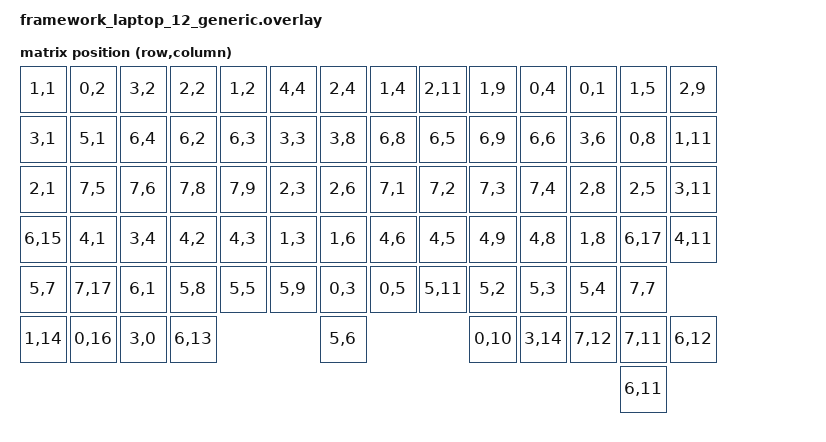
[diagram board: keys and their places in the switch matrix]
/*
 * Copyright (c) 2026 Framework Computer Inc
 *
 * SPDX-License-Identifier: MIT
 *
 * Unified ANSI + ISO matrix transform for the Framework Laptop 12 input deck.
 * 80 positions total. Positions that only exist on one physical layout are
 * declared but dormant on the other (no key wired ⇒ no scan event).
 */

#include <dt-bindings/led/led.h>
#include <dt-bindings/zmk/matrix_transform.h>

/ {
    chosen {
        zmk,matrix-transform = &framework_laptop_12_generic_transform;
    };

    framework_laptop_12_generic_transform: framework_laptop_12_generic_transform {
        compatible = "zmk,matrix-transform";
        rows = <8>;
        columns = <18>;

        // (row, col)
        map = <
        // Row 0: Esc..Del (14 positions, shared)
        RC(1,1)  RC(0,2)  RC(3,2)  RC(2,2)  RC(1,2)  RC(4,4)  RC(2,4)  RC(1,4)  RC(2,11) RC(1,9)  RC(0,4)  RC(0,1)  RC(1,5)  RC(2,9)
        // Row 1: `..BSPC (14 positions, shared)
        RC(3,1)  RC(5,1)  RC(6,4)  RC(6,2)  RC(6,3)  RC(3,3)  RC(3,8)  RC(6,8)  RC(6,5)  RC(6,9)  RC(6,6)  RC(3,6)  RC(0,8)  RC(1,11)
        // Row 2: Tab..\ (14 positions; last slot RC(3,11) = BSLH is ANSI-only, dormant on ISO)
        RC(2,1)  RC(7,5)  RC(7,6)  RC(7,8)  RC(7,9)  RC(2,3)  RC(2,6)  RC(7,1)  RC(7,2)  RC(7,3)  RC(7,4)  RC(2,8)  RC(2,5)  RC(3,11)
        // Row 3: Caps..Enter (14 positions; slot 12 RC(6,17) = NUHS is ISO-only, dormant on ANSI)
        RC(6,15) RC(4,1)  RC(3,4)  RC(4,2)  RC(4,3)  RC(1,3)  RC(1,6)  RC(4,6)  RC(4,5)  RC(4,9)  RC(4,8)  RC(1,8)  RC(6,17) RC(4,11)
        // Row 4: LShift..RShift (13 positions; slot 1 RC(7,17) = NUBS is ISO-only, dormant on ANSI)
        RC(5,7)  RC(7,17) RC(6,1)  RC(5,8)  RC(5,5)  RC(5,9)  RC(0,3)  RC(0,5)  RC(5,11) RC(5,2)  RC(5,3)  RC(5,4)  RC(7,7)
        // Row 5: LCtrl..Right (10 positions, shared)
        RC(1,14) RC(0,16) RC(3,0)  RC(6,13)                   RC(5,6)                    RC(0,10) RC(3,14) RC(7,12) RC(7,11) RC(6,12)
        // Row 6: Down (1 position, shared)
                                                                                                                    RC(6,11)
        >;
    };
};
